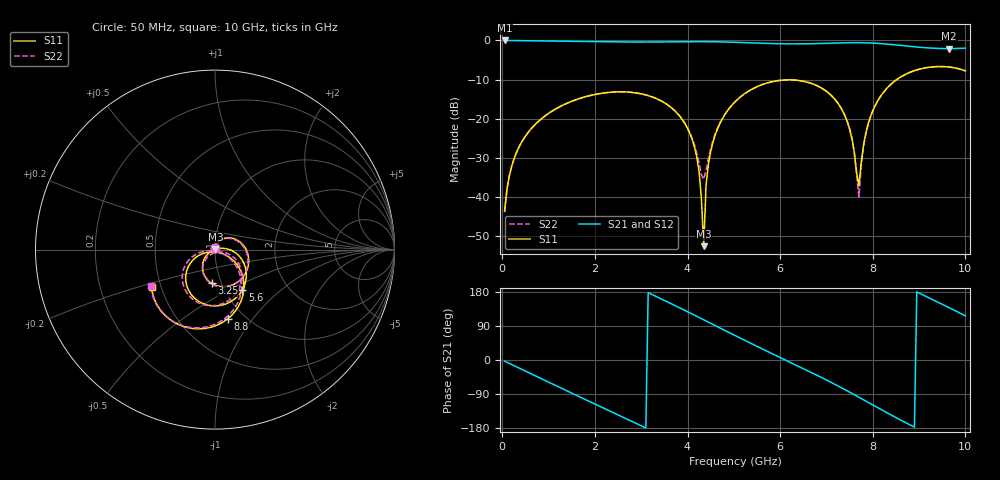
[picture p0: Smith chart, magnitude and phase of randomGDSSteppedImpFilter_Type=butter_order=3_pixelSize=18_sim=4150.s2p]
! freq	dB(S11)	phase(S11)	dB(S12)	phase(S12)
!  dB(S21)	phase(S21)	dB(S22)	phase(S22)
!S-par simulation data
#  GHz  S  DB  R 50
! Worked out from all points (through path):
!   200 points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, 50 MHz to 10 GHz, reference 50 ohm
!   highest |S21| = 0.00 dB at 50 MHz (marker M1); lowest = -2.1 dB at 9.65 GHz (marker M2)
!   group delay of S21, straight-line fit = 168 ps
!   lowest |S11| = -52.5 dB at 4.35 GHz (marker M3), VSWR 1.00, Z = 50.2 + j0.142 ohm
!   |S11| at or under -10 dB: start of sweep to 8.517 GHz
!   |S22| runs from -43.7 to -6.7 dB; largest |S21 - S12| = 0
!   S11 on the Smith chart (normalised r, x): 50 MHz: 1.00, +0.01; 3.25 GHz: 0.90, -0.35; 5.6 GHz: 1.20, -0.58; 8.8 GHz: 0.84, -0.76; 10 GHz: 0.44, -0.22
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0.05  -43.67 82.4  -0.00 -3.0  -0.00 -3.0  -43.67 82.4
0.2  -32.25 76.1  -0.03 -11.8  -0.03 -11.8  -32.25 75.6
0.5  -24.44 60.4  -0.06 -29.3  -0.06 -29.3  -24.44 59.2
1.75  -14.53 -10.1  -0.28 -101.9  -0.28 -101.9  -14.53 -13.3
3.25  -14.48 -95.6  -0.40 171.9  -0.40 171.9  -14.47 -97.6
3.4  -15.25 -104.4  -0.38 163.2  -0.38 163.2  -15.24 -105.7
4.15  -27.24 -149.5  -0.31 118.3  -0.31 118.3  -26.67 -134.1
4.25  -33.55 -156.5  -0.31 112.2  -0.31 112.2  -31.45 -122.3
4.35  -52.55 36.9  -0.31 106.1  -0.31 106.1  -35.47 -69.2
4.4  -36.98 19.0  -0.31 103.0  -0.31 103.0  -33.17 -40.1
4.5  -28.35 11.1  -0.32 96.9  -0.32 96.9  -27.60 -19.6
5.05  -15.40 -23.1  -0.47 63.1  -0.47 63.1  -15.37 -34.6
5.6  -11.32 -55.9  -0.71 30.1  -0.71 30.1  -11.32 -64.7
6.7  -11.09 -119.5  -0.83 -34.5  -0.83 -34.5  -11.08 -126.4
7.4  -19.26 -158.6  -0.59 -78.2  -0.59 -78.2  -19.24 -166.0
7.55  -25.05 -161.7  -0.57 -88.1  -0.57 -88.1  -25.07 -171.0
7.7  -37.13 -80.1  -0.57 -98.2  -0.57 -98.2  -39.96 -83.9
7.9  -21.32 -27.6  -0.62 -111.8  -0.62 -111.8  -21.45 -30.0
8.35  -11.67 -51.8  -0.97 -142.1  -0.97 -142.1  -11.70 -55.3
8.8  -8.15 -79.4  -1.51 -171.0  -1.51 -171.0  -8.16 -82.7
9.65  -6.79 -129.1  -2.08 138.0  -2.08 138.0  -6.80 -131.0
10  -7.76 -149.8  -1.96 116.4  -1.96 116.4  -7.78 -150.6
